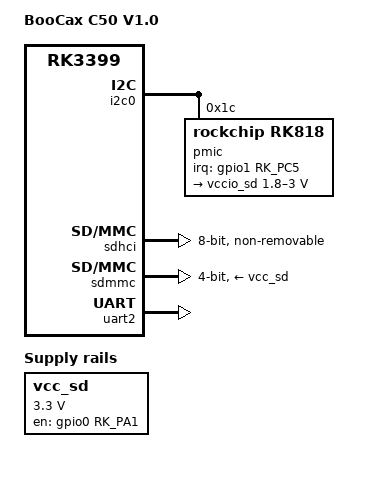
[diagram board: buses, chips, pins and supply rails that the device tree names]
// SPDX-License-Identifier: (GPL-2.0-or-later OR MIT)
/dts-v1/;

#include <dt-bindings/gpio/gpio.h>
#include <dt-bindings/interrupt-controller/irq.h>
#include <dt-bindings/pinctrl/rockchip.h>
#include "rk3399.dtsi"

/ {
	model = "BooCax C50 V1.0";
	compatible = "boocax,c50", "rockchip,rk3399";

	aliases {
		mmc0 = &sdhci;
		mmc1 = &sdmmc;
		serial2 = &uart2;
	};

	chosen {
		stdout-path = "serial2:1500000n8";
	};

	vcc_sd: regulator-vcc-sd {
		compatible = "regulator-fixed";
		regulator-name = "vcc_sd";
		regulator-min-microvolt = <3300000>;
		regulator-max-microvolt = <3300000>;
		gpio = <&gpio0 RK_PA1 GPIO_ACTIVE_HIGH>;
		enable-active-high;
	};
};

&i2c0 {
	status = "okay";

	pmic@1c {
		compatible = "rockchip,rk818";
		reg = <0x1c>;
		interrupt-parent = <&gpio1>;
		interrupts = <RK_PC5 IRQ_TYPE_LEVEL_LOW>;

		regulators {
			vccio_sd: LDO_REG9 {
				regulator-name = "vccio_sd";
				regulator-min-microvolt = <1800000>;
				regulator-max-microvolt = <3000000>;
			};
		};
	};
};

&sdhci {
	bus-width = <8>;
	cap-mmc-highspeed;
	non-removable;
	max-frequency = <52000000>;
	status = "okay";
};

&sdmmc {
	bus-width = <4>;
	cap-sd-highspeed;
	disable-wp;
	max-frequency = <50000000>;
	no-1-8-v;
	vmmc-supply = <&vcc_sd>;
	vqmmc-supply = <&vccio_sd>;
	status = "okay";
};

&uart2 {
	status = "okay";
};
